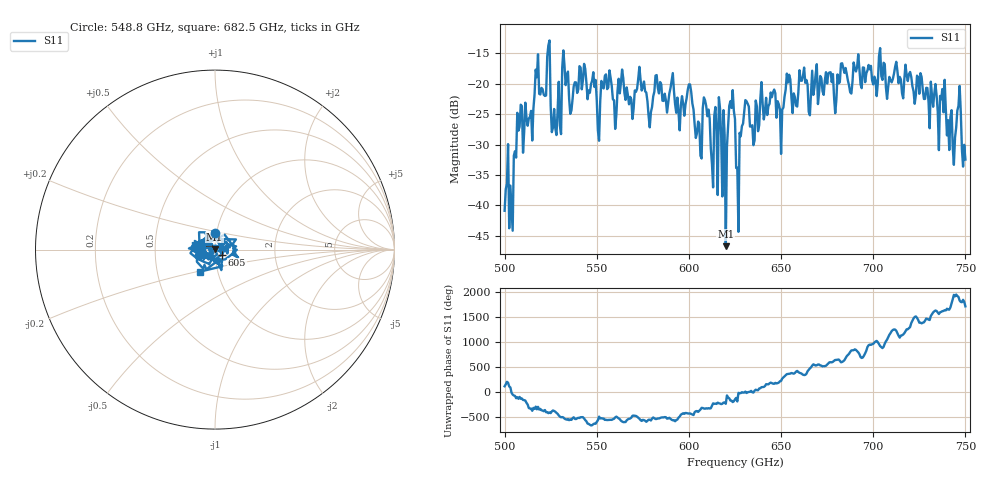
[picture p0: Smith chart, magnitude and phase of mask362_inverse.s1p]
!Created with skrf (http://scikit-rf.org).
# GHz S MA R 50.0
!freq magS11 angS11
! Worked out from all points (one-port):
!   401 points, 500 GHz to 750 GHz, reference 50 ohm
!   lowest |S11| = -46.7 dB at 620 GHz (marker M1), VSWR 1.01, Z = 49.7 + j0.369 ohm
!   |S11| at or under -10 dB: start of sweep to end of sweep
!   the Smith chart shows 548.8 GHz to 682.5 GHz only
!   S11 on the Smith chart (normalised r, x): 548.8 GHz: 0.98, +0.19; 605 GHz: 1.08, -0.06; 682.5 GHz: 0.83, -0.21
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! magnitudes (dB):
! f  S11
! 500 GHz  -40.9
! 503.8 GHz  -40.4
! 508.1 GHz  -27.1
! 517.5 GHz  -18.9
! 523.8 GHz  -13.6
! 526.9 GHz  -24.1
! 531.2 GHz  -17.4
! 548.8 GHz  -20.5
! 562.5 GHz  -21.6
! 593.8 GHz  -22.3
! 600.6 GHz  -20.1
! 605 GHz  -26.2
! 609.4 GHz  -23.6
! 611.9 GHz  -30.6
! 620 GHz  -46.7
! 623.1 GHz  -24.0
! 625 GHz  -25.8
! 626.9 GHz  -44.3
! 631.2 GHz  -22.8
! 634.4 GHz  -26.8
! 656.2 GHz  -24.8
! 682.5 GHz  -16.7
! 687.5 GHz  -21.4
! 718.8 GHz  -19.5
! 737.5 GHz  -20.8
! 742.5 GHz  -24.3
! 746.2 GHz  -23.6
! 750 GHz  -32.4
